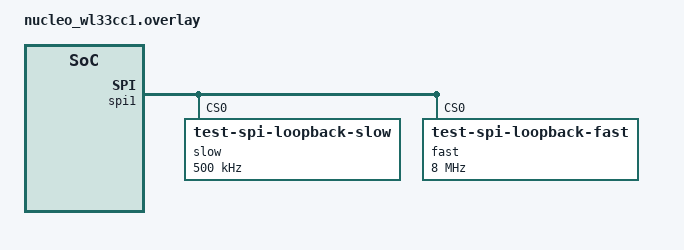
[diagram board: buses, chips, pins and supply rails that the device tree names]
/*
 * Copyright (c) 2025 STMicroelectronics
 * Copyright (c) 2026 Anders Frandsen <anfran@anfran.dk>
 *
 * SPDX-License-Identifier: Apache-2.0
 */

/* Connect ARDUINO D11 (MOSI, PB9) to ARDUINO D12 (MISO, PB8). */
&spi1 {
	dmas = <&dmamux1 0 5 (STM32_DMA_PERIPH_TX | STM32_DMA_PRIORITY_HIGH)>,
	       <&dmamux1 1 4 (STM32_DMA_PERIPH_RX | STM32_DMA_PRIORITY_HIGH)>;
	dma-names = "tx", "rx";

	slow@0 {
		compatible = "test-spi-loopback-slow";
		reg = <0>;
		spi-max-frequency = <500000>;
	};

	fast@0 {
		compatible = "test-spi-loopback-fast";
		reg = <0>;
		spi-max-frequency = <8000000>;
	};
};

&dma1 {
	status = "okay";
};

&dmamux1 {
	status = "okay";
};
